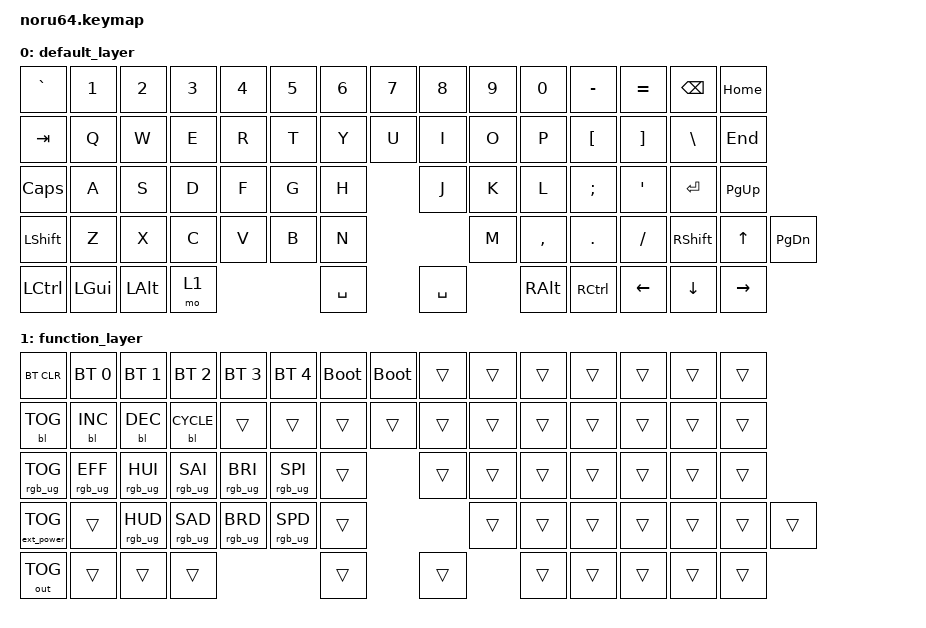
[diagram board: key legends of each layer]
/*
# Copyright (c) 2021 The ZMK Contributors
*
* SPDX-License-Identifier: MIT
*/

#include <behaviors.dtsi>
#include <dt-bindings/zmk/keys.h>
#include <dt-bindings/zmk/bt.h>
#include <dt-bindings/zmk/backlight.h>
#include <dt-bindings/zmk/rgb.h>
#include <dt-bindings/zmk/ext_power.h>
#include <dt-bindings/zmk/outputs.h>

/ {
    keymap {
        compatible = "zmk,keymap";

        default_layer {
            bindings = <
 &kp GRAVE    &kp N1    &kp N2  &kp N3  &kp N4  &kp N5     &kp N6  &kp N7     &kp N8     &kp N9    &kp N0  &kp MINUS  &kp EQUAL             &kp BACKSPACE   &kp HOME
   &kp TAB     &kp Q     &kp W   &kp E   &kp R              &kp T   &kp Y      &kp U      &kp I     &kp O      &kp P   &kp LBKT   &kp RBKT       &kp BSLH    &kp END
  &kp CAPS     &kp A     &kp S   &kp D           &kp F      &kp G   &kp H      &kp J      &kp K     &kp L   &kp SEMI    &kp SQT                   &kp RET  &kp PG_UP
 &kp LSHFT               &kp Z   &kp X   &kp C   &kp V      &kp B   &kp N      &kp M  &kp COMMA   &kp DOT              &kp FSLH  &kp RSHFT         &kp UP  &kp PG_DN
 &kp LCTRL  &kp LGUI  &kp LALT   &mo 1                  &kp SPACE          &kp SPACE             &kp RALT  &kp RCTRL              &kp LEFT       &kp DOWN  &kp RIGHT
            >;
        };

        function_layer {
            bindings = <
        &bt BT_CLR     &bt BT_SEL 0     &bt BT_SEL 1     &bt BT_SEL 2     &bt BT_SEL 3     &bt BT_SEL 4      &bootloader  &bootloader  &trans  &trans  &trans  &trans  &trans          &trans  &trans
        &bl BL_TOG       &bl BL_INC       &bl BL_DEC     &bl BL_CYCLE           &trans                            &trans       &trans  &trans  &trans  &trans  &trans  &trans  &trans  &trans  &trans
   &rgb_ug RGB_TOG  &rgb_ug RGB_EFF  &rgb_ug RGB_HUI  &rgb_ug RGB_SAI                   &rgb_ug RGB_BRI  &rgb_ug RGB_SPI       &trans  &trans  &trans  &trans  &trans  &trans          &trans  &trans
 &ext_power EP_TOG                            &trans  &rgb_ug RGB_HUD  &rgb_ug RGB_SAD  &rgb_ug RGB_BRD  &rgb_ug RGB_SPD       &trans  &trans  &trans  &trans          &trans  &trans  &trans  &trans
      &out OUT_TOG           &trans           &trans           &trans                                             &trans               &trans          &trans  &trans          &trans  &trans  &trans
            >;
        };
    };
};
